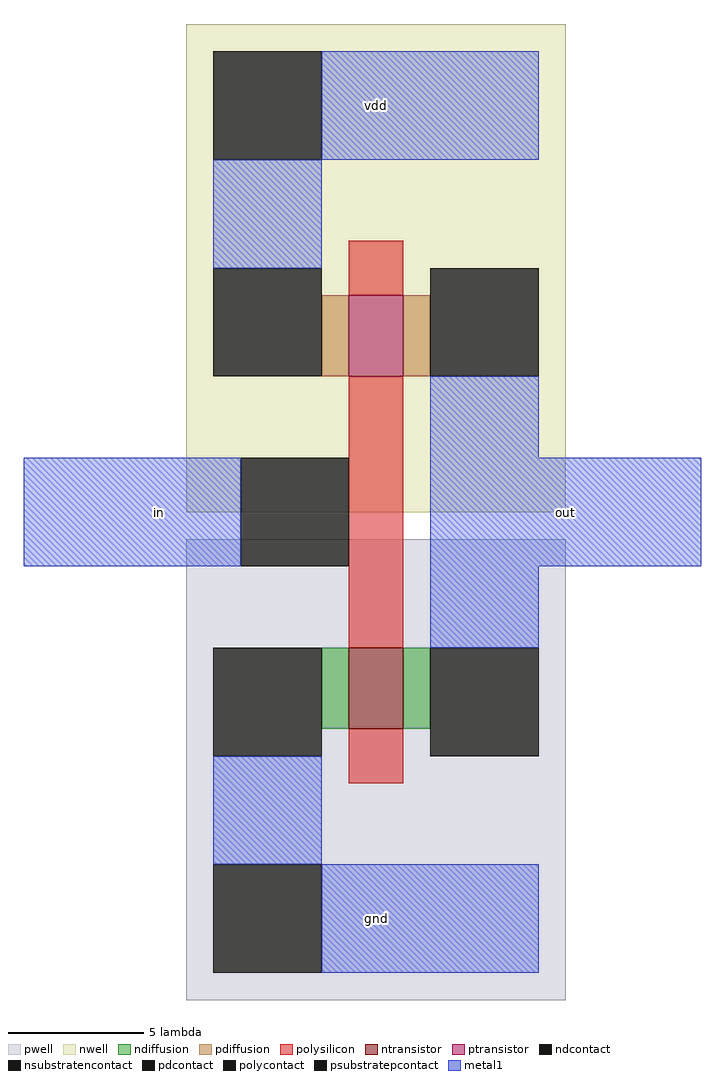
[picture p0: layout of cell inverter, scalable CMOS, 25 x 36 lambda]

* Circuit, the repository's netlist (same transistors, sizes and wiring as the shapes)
* SPICE3 file created from inverter.ext - technology: scmos

.include 0.25-models

M1000 out in vdd vdd CMOSP w=3u l=2u
+  ad=19p pd=18u as=19p ps=18u
M1001 out in gnd gnd CMOSN w=3u l=2u
+  ad=19p pd=18u as=19p ps=18u

vvdd vdd 0 2.5v DC

vin in 0 0 DC

.dc vin 0 2.5v 0.05v

.end

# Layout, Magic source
magic
tech scmos
<< pwell >>
rect -9 -21 5 -4
<< nwell >>
rect -9 -3 5 15
<< polysilicon >>
rect -3 5 -1 7
rect -3 -8 -1 2
rect -3 -13 -1 -11
<< ndiffusion >>
rect -4 -11 -3 -8
rect -1 -11 0 -8
<< pdiffusion >>
rect -4 2 -3 5
rect -1 2 0 5
<< metal1 >>
rect -4 10 4 14
rect -8 6 -4 10
rect 0 -1 4 2
rect -15 -5 -7 -1
rect 0 -5 10 -1
rect 0 -8 4 -5
rect -8 -16 -4 -12
rect -4 -20 4 -16
<< ntransistor >>
rect -3 -11 -1 -8
<< ptransistor >>
rect -3 2 -1 5
<< polycontact >>
rect -7 -5 -3 -1
<< ndcontact >>
rect -8 -12 -4 -8
rect 0 -12 4 -8
<< pdcontact >>
rect -8 2 -4 6
rect 0 2 4 6
<< psubstratepcontact >>
rect -8 -20 -4 -16
<< nsubstratencontact >>
rect -8 10 -4 14
<< labels >>
rlabel metal1 0 -5 10 -1 3 out
rlabel metal1 -15 -5 -5 -1 7 in
rlabel metal1 -8 10 4 14 0 vdd
rlabel metal1 -8 -20 4 -16 0 gnd
<< end >>
